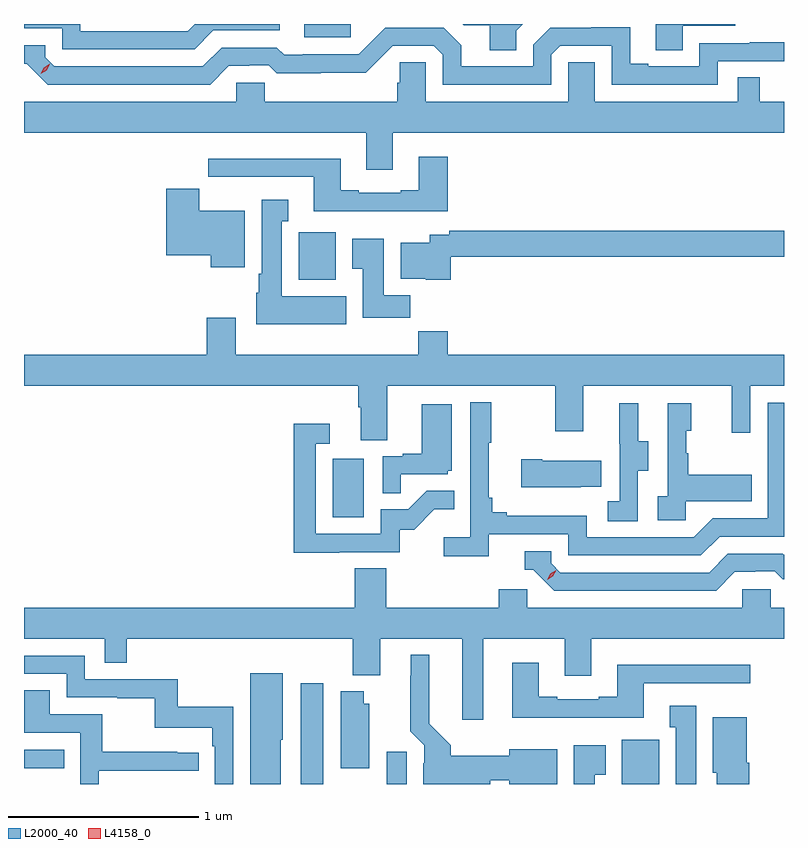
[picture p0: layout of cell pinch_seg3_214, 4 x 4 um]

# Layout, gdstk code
import gdstk
lib = gdstk.Library(unit=1e-6, precision=1e-09)
def R(c, l, rs):  # rectangles x0, y0, x1, y1
    for r in rs: c.add(gdstk.rectangle(r[:2], r[2:], *l))
def P(c, l, *ps):  # polygons
    for p in ps: c.add(gdstk.Polygon(p, *l))
L2000_40 = (2000, 40)
L4158_0 = (4158, 0)

pinch_seg3_214 = lib.new_cell('pinch_seg3_214')
R(pinch_seg3_214, L2000_40, [(941.264,734.784,941.383,735.313), (941.717,734.784,941.821,734.953), (942.953,734.784,943.15,735.016), (939.807,734.868,940.019,734.964), (941.432,736.188,941.596,736.495), (941.253,737.438,941.449,737.688), (941.283,738.714,941.526,738.784)])
P(pinch_seg3_214, L2000_40, [(943.273,738.774),(943.55,738.774),(943.55,738.784),(943.133,738.784),(943.133,738.646),(943.273,738.646)],
  [(942.397,738.748),(942.433,738.784),(942.116,738.784),(942.122,738.778),(942.257,738.778),(942.257,738.646),(942.397,738.646)],
  [(940.804,738.75),(941.154,738.75),(941.154,738.784),(940.705,738.784),(940.668,738.747),(940.104,738.747),(940.104,738.784),(939.807,738.784),(939.807,738.762),(940.008,738.762),(940.008,738.651),(940.705,738.651)],
  [(940.885,738.564),(940.992,738.564),(940.992,738.567),(941.095,738.567),(941.137,738.525),(941.37,738.525),(941.37,738.527),(941.606,738.527),(941.748,738.669),(941.964,738.669),(942.012,738.621),(942.012,738.465),(942.582,738.465),(942.582,738.621),(942.63,738.669),(942.9,738.669),(942.9,738.465),(943.458,738.465),(943.458,738.588),(943.807,738.588),(943.807,738.689),(943.627,738.689),(943.627,738.684),(943.362,738.684),(943.362,738.561),(943.093,738.561),(943.093,738.574),(942.997,738.574),(942.997,738.767),(942.792,738.767),(942.792,738.765),(942.576,738.765),(942.486,738.675),(942.486,738.561),(942.109,738.561),(942.109,738.671),(942.015,738.765),(941.709,738.765),(941.568,738.624),(941.275,738.624),(941.275,738.621),(941.176,738.621),(941.137,738.66),(940.848,738.66),(940.749,738.561),(939.966,738.561),(939.918,738.609),(939.918,738.672),(939.807,738.672),(939.807,738.576),(939.822,738.576),(939.933,738.465),(940.786,738.465)],
  [(941.749,738.212),(943.807,738.212),(943.807,738.376),(943.679,738.376),(943.679,738.503),(943.563,738.503),(943.563,738.376),(942.811,738.376),(942.811,738.584),(942.672,738.584),(942.672,738.376),(941.922,738.376),(941.922,738.584),(941.785,738.584),(941.785,738.474),(941.771,738.474),(941.771,738.376),(941.073,738.376),(941.073,738.474),(940.923,738.474),(940.923,738.376),(939.807,738.376),(939.807,738.212),(941.609,738.212),(941.609,738.018),(941.749,738.018)],
  [(942.038,738.085),(941.885,738.085),(941.885,737.908),(941.789,737.908),(941.789,737.895),(941.569,737.895),(941.569,737.908),(941.473,737.908),(941.473,738.076),(940.776,738.076),(940.776,737.981),(940.885,737.981),(940.885,737.979),(941.333,737.979),(941.333,737.798),(942.038,737.798)],
  [(940.969,737.8),(940.729,737.8),(940.729,737.916),(940.556,737.916),(940.556,737.567),(940.79,737.567),(940.79,737.504),(940.969,737.504)],
  [(941.503,737.35),(941.164,737.35),(941.164,737.747),(941.197,737.747),(941.197,737.86),(941.057,737.86),(941.057,737.47),(941.042,737.47),(941.042,737.37),(941.03,737.37),(941.03,737.204),(941.503,737.204)],
  [(942.052,737.56),(943.807,737.56),(943.807,737.696),(942.046,737.696),(942.046,737.676),(941.943,737.676),(941.943,737.632),(941.789,737.632),(941.789,737.444),(941.922,737.444),(941.922,737.438),(942.052,737.438)],
  [(941.84,737.356),(941.701,737.356),(941.701,737.653),(941.534,737.653),(941.534,737.497),(941.591,737.497),(941.591,737.238),(941.84,737.238)],
  [(941.719,736.88),(942.604,736.88),(942.604,736.641),(942.751,736.641),(942.751,736.88),(943.532,736.88),(943.532,736.632),(943.629,736.632),(943.629,736.88),(943.807,736.88),(943.807,737.044),(942.038,737.044),(942.038,737.168),(941.881,737.168),(941.881,737.044),(940.921,737.044),(940.921,737.239),(940.769,737.239),(940.769,737.044),(939.807,737.044),(939.807,736.88),(941.567,736.88),(941.567,736.768),(941.579,736.768),(941.579,736.594),(941.719,736.594)],
  [(942.254,736.098),(942.672,736.098),(942.672,735.987),(943.369,735.987),(943.468,736.086),(943.807,736.086),(943.807,736.791),(943.722,736.791),(943.722,736.182),(943.431,736.182),(943.332,736.083),(942.768,736.083),(942.768,736.195),(942.349,736.195),(942.349,736.214),(942.272,736.214),(942.272,736.291),(942.253,736.291),(942.253,736.579),(942.265,736.579),(942.265,736.792),(942.156,736.792),(942.156,736.084),(942.015,736.084),(942.015,735.982),(942.254,735.982)],
  [(943.038,736.432),(943.093,736.432),(943.093,736.587),(943.039,736.587),(943.039,736.789),(942.941,736.789),(942.941,736.575),(942.942,736.575),(942.942,736.271),(942.879,736.271),(942.879,736.168),(943.038,736.168)],
  [(943.29,736.271),(943.637,736.271),(943.637,736.411),(943.303,736.411),(943.303,736.526),(943.293,736.526),(943.293,736.644),(943.318,736.644),(943.318,736.789),(943.194,736.789),(943.194,736.298),(943.143,736.298),(943.143,736.173),(943.29,736.173)],
  [(941.789,736.413),(942.036,736.413),(942.036,736.434),(942.058,736.434),(942.058,736.783),(941.9,736.783),(941.9,736.522),(941.801,736.522),(941.801,736.509),(941.694,736.509),(941.694,736.315),(941.789,736.315)],
  [(941.465,736.005),(941.784,736.005),(941.784,736.122),(941.86,736.122),(941.967,736.229),(942.071,736.229),(942.071,736.328),(941.927,736.328),(941.829,736.23),(941.685,736.23),(941.685,736.101),(941.343,736.101),(941.343,736.575),(941.416,736.575),(941.416,736.681),(941.227,736.681),(941.227,736),(941.465,736)],
  [(942.737,736.349),(942.845,736.349),(942.845,736.486),(942.535,736.486),(942.535,736.494),(942.423,736.494),(942.423,736.346),(942.737,736.346)],
  [(943.549,735.9),(943.656,735.9),(943.656,735.903),(943.759,735.903),(943.801,735.861),(943.807,735.861),(943.807,735.99),(943.801,735.996),(943.512,735.996),(943.413,735.897),(942.63,735.897),(942.582,735.945),(942.582,736.008),(942.443,736.008),(942.443,735.912),(942.486,735.912),(942.597,735.801),(943.45,735.801)],
  [(942.223,735.548),(942.653,735.548),(942.653,735.354),(942.793,735.354),(942.793,735.548),(943.807,735.548),(943.807,735.712),(943.737,735.712),(943.737,735.81),(943.587,735.81),(943.587,735.712),(942.456,735.712),(942.456,735.81),(942.305,735.81),(942.305,735.712),(941.714,735.712),(941.714,735.92),(941.549,735.92),(941.549,735.712),(939.807,735.712),(939.807,735.548),(940.233,735.548),(940.233,735.421),(940.349,735.421),(940.349,735.548),(941.536,735.548),(941.536,735.356),(941.683,735.356),(941.683,735.548),(942.113,735.548),(942.113,735.123),(942.223,735.123)],
  [(942.262,734.803),(942.362,734.803),(942.362,734.784),(942.613,734.784),(942.613,734.968),(942.362,734.968),(942.362,734.932),(942.054,734.932),(942.054,734.987),(941.941,735.1),(941.941,735.463),(941.843,735.463),(941.843,735.353),(941.839,735.353),(941.839,735.062),(941.913,734.988),(941.913,734.894),(941.909,734.894),(941.909,734.784),(942.262,734.784)],
  [(940.908,735.19),(940.615,735.19),(940.615,735.336),(940.128,735.336),(940.128,735.459),(939.807,735.459),(939.807,735.363),(940.032,735.363),(940.032,735.24),(940.297,735.24),(940.297,735.235),(940.494,735.235),(940.494,735.08),(940.799,735.08),(940.799,734.984),(940.812,734.984),(940.812,734.784),(940.908,734.784)],
  [(943.069,735.315),(943.63,735.315),(943.63,735.412),(942.929,735.412),(942.929,735.244),(942.833,735.244),(942.833,735.231),(942.613,735.231),(942.613,735.244),(942.517,735.244),(942.517,735.421),(942.377,735.421),(942.377,735.134),(943.069,735.134)],
  [(941.158,735.018),(941.17,735.018),(941.17,735.367),(940.997,735.367),(940.997,734.784),(941.158,734.784)],
  [(940.2,734.853),(940.726,734.853),(940.726,734.949),(940.613,734.949),(940.613,734.954),(940.22,734.954),(940.22,735.15),(939.943,735.15),(939.943,735.278),(939.807,735.278),(939.807,735.054),(940.104,735.054),(940.104,734.784),(940.2,734.784)],
  [(941.623,735.207),(941.596,735.207),(941.596,735.271),(941.474,735.271),(941.474,734.866),(941.623,734.866)],
  [(943.345,735.196),(943.205,735.196),(943.205,735.083),(943.238,735.083),(943.238,734.784),(943.345,734.784)],
  [(943.625,734.896),(943.612,734.896),(943.612,735.136),(943.433,735.136),(943.433,734.844),(943.454,734.844),(943.454,734.784),(943.625,734.784)],
  [(942.811,734.833),(942.868,734.833),(942.868,734.989),(942.701,734.989),(942.701,734.784),(942.811,734.784)])
P(pinch_seg3_214, L4158_0, [(942.56,735.858),(942.56,735.858),(942.576,735.89),(942.607,735.91),(942.608,735.91),(942.608,735.909),(942.591,735.877),(942.56,735.858)],
  [(939.896,738.522),(939.896,738.523),(939.912,738.555),(939.943,738.574),(939.943,738.574),(939.943,738.574),(939.927,738.541),(939.896,738.522)])

lib.write_gds('pinch_seg3_214.gds')
